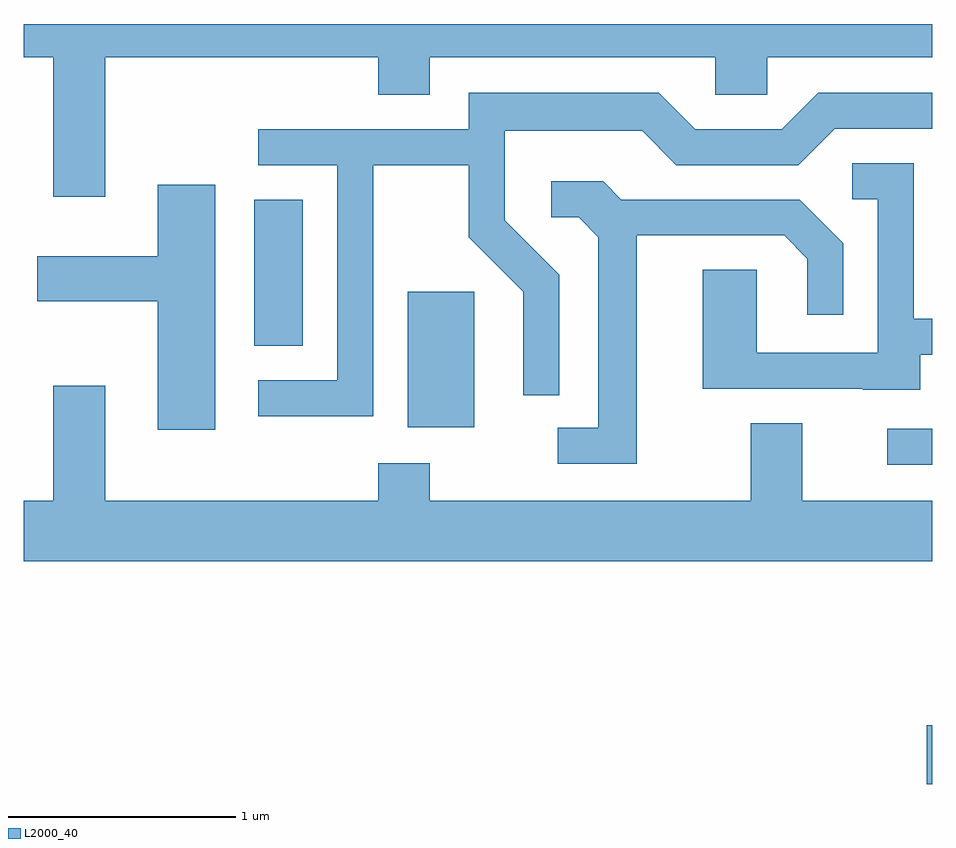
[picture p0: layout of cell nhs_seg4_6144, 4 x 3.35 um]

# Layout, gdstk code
import gdstk
lib = gdstk.Library(unit=1e-6, precision=1e-09)
def R(c, l, rs):  # rectangles x0, y0, x1, y1
    for r in rs: c.add(gdstk.rectangle(r[:2], r[2:], *l))
def P(c, l, *ps):  # polygons
    for p in ps: c.add(gdstk.Polygon(p, *l))
L2000_40 = (2000, 40)

nhs_seg4_6144 = lib.new_cell('nhs_seg4_6144')
R(nhs_seg4_6144, L2000_40, [(369.586,1302.636,369.611,1302.894), (369.413,1304.041,369.611,1304.199), (367.301,1304.206,367.594,1304.804), (366.626,1304.566,366.839,1305.209)])
P(nhs_seg4_6144, L2000_40, [(365.969,1305.836),(367.171,1305.836),(367.171,1305.671),(367.399,1305.671),(367.399,1305.836),(368.656,1305.836),(368.656,1305.671),(368.884,1305.671),(368.884,1305.836),(369.611,1305.836),(369.611,1305.982),(365.611,1305.982),(365.611,1305.836),(365.741,1305.836),(365.741,1305.221),(365.969,1305.221)],
  [(367.149,1305.361),(367.571,1305.361),(367.571,1305.044),(367.811,1304.804),(367.811,1304.348),(367.969,1304.348),(367.969,1304.877),(367.729,1305.117),(367.729,1305.511),(368.334,1305.511),(368.484,1305.361),(369.022,1305.361),(369.182,1305.521),(369.611,1305.521),(369.611,1305.679),(369.109,1305.679),(368.949,1305.519),(368.567,1305.519),(368.407,1305.679),(367.571,1305.679),(367.571,1305.519),(366.643,1305.519),(366.643,1305.361),(366.991,1305.361),(366.991,1304.414),(366.643,1304.414),(366.643,1304.256),(367.149,1304.256)],
  [(369.559,1304.526),(369.611,1304.526),(369.611,1304.684),(369.529,1304.684),(369.529,1305.369),(369.258,1305.369),(369.258,1305.211),(369.371,1305.211),(369.371,1304.534),(368.839,1304.534),(368.839,1304.899),(368.601,1304.899),(368.601,1304.376),(369.305,1304.376),(369.305,1304.371),(369.559,1304.371)],
  [(368.309,1305.051),(368.959,1305.051),(369.061,1304.949),(369.061,1304.703),(369.219,1304.703),(369.219,1305.017),(369.027,1305.209),(368.242,1305.209),(368.162,1305.289),(367.933,1305.289),(367.933,1305.131),(368.054,1305.131),(368.141,1305.044),(368.141,1304.204),(367.963,1304.204),(367.963,1304.046),(368.309,1304.046)],
  [(366.454,1305.274),(366.201,1305.274),(366.201,1304.959),(365.671,1304.959),(365.671,1304.761),(366.201,1304.761),(366.201,1304.196),(366.454,1304.196)],
  [(369.611,1303.884),(369.039,1303.884),(369.039,1304.224),(368.811,1304.224),(368.811,1303.884),(367.399,1303.884),(367.399,1304.049),(367.171,1304.049),(367.171,1303.884),(365.969,1303.884),(365.969,1304.389),(365.741,1304.389),(365.741,1303.884),(365.611,1303.884),(365.611,1303.616),(369.611,1303.616)])

lib.write_gds('nhs_seg4_6144.gds')
